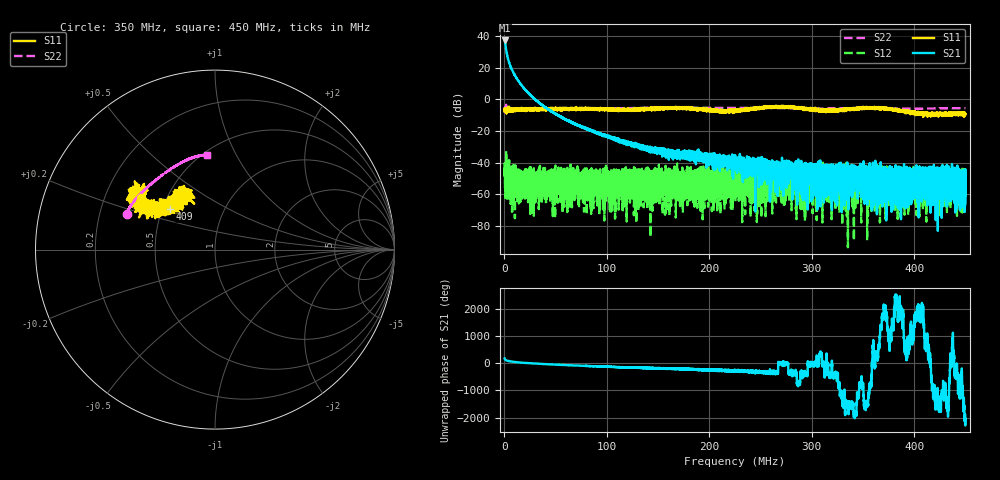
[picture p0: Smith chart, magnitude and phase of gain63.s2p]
# Hz S DB R 50
! CMT, M5065, 19127446, 24.2.4/2
! Date: 12/3/2024 4:33:17 PM
! Data: Format (Calibration Info)
! Freq	S11:dB/Ang(F2)	S21:dB/Ang(F2)	S12:dB/Ang(F2)	S22:dB/Ang(F2)
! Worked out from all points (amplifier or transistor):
!   9000 points, 300 kHz to 450 MHz, reference 50 ohm
!   highest |S21| = 37.3 dB at 300 kHz (marker M1)
!   |S21| within 3 dB of that: start of sweep to 1.182 MHz
!   unconditionally stable (mu >= 1): 1.218 MHz to 1.491 MHz; 1.517 MHz to 1.835 MHz; 1.951 MHz to end of sweep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
!   at 75.26 MHz: K = 556.02, MAG = -14.4 dB, |S12| = -49.4 dB
!   at 225.2 MHz: K = 5454.09, MAG = -37.5 dB, |S12| = -45.5 dB
!   at 450 MHz: K = 40949.79, MAG = -47.1 dB, |S12| = -53.1 dB
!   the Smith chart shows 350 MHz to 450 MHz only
!   S11 on the Smith chart (normalised r, x): 350 MHz: 0.36, +0.28; 409 MHz: 0.55, +0.28; 450 MHz: 0.59, +0.44
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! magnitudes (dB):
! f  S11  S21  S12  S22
! 300 kHz  -7.4  37.3  -45.3  -7.0
! 7.796 MHz  -6.7  18.3  -50.5  -5.8
! 22.19 MHz  -6.1  4.9  -57.6  -5.9
! 44.28 MHz  -5.8  -6.9  -51.5  -5.8
! 69.91 MHz  -5.7  -15.8  -59.3  -5.7
! 75.26 MHz  -5.4  -17.2  -49.4  -5.7
! 150.2 MHz  -6.0  -33.5  -52.1  -5.2
! 225.2 MHz  -8.1  -39.7  -45.5  -5.4
! 278.4 MHz  -5.4  -42.3  -54.0  -5.6
! 287.5 MHz  -5.2  -47.8  -59.0  -5.7
! 300.1 MHz  -6.6  -44.0  -47.4  -5.8
! 332.5 MHz  -5.9  -46.3  -59.4  -5.5
! 350 MHz  -6.0  -47.0  -42.6  -5.5
! 354.4 MHz  -5.5  -49.7  -49.6  -5.5
! 363.8 MHz  -5.5  -46.6  -41.4  -5.6
! 375.1 MHz  -6.2  -44.9  -50.4  -5.7
! 390.3 MHz  -7.8  -50.5  -45.9  -5.9
! 409 MHz  -9.4  -44.5  -67.3  -5.8
! 436.1 MHz  -9.4  -51.2  -54.7  -5.5
! 447.6 MHz  -9.1  -44.6  -55.9  -5.5
! 450 MHz  -8.8  -51.9  -53.6  -5.5
! 450 MHz  -9.3  -49.1  -53.1  -5.6
